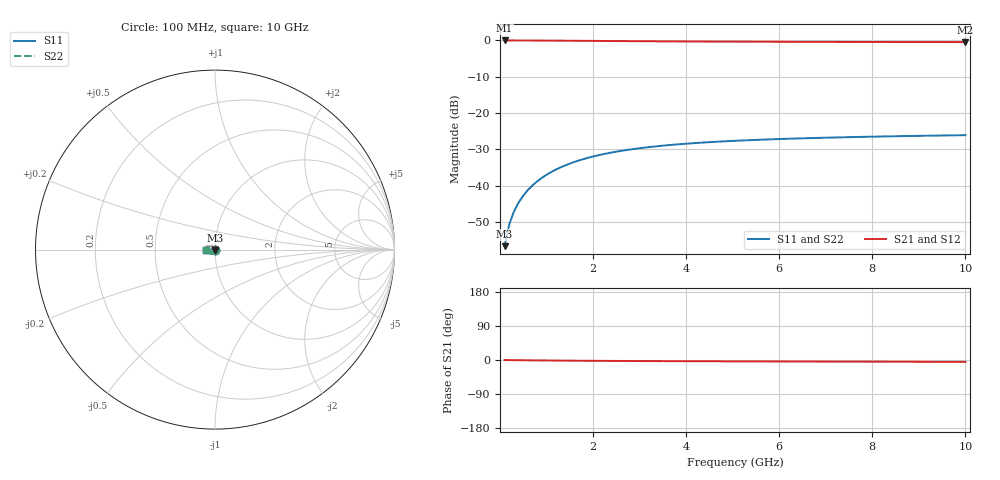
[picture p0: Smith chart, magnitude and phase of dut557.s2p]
! Touchstone file exported from HFSS 2024.1.0
!  File:  C:/UserFiles/LocalFiles/RDL_TSV_Batchsim/temp_TSV1_557_1779706963.aedt
!  Generated:  07:10:11 PM May 25, 2026
!  Design:  TSV1
!  Project:  temp_TSV1_557_1779706963
!  Setup:  Setup1
!  Solution:  Sweep
! Variables:
!  dtsv = 12.82um
!  hbump = 3um
!  htsv = 76.56um
!  lrdl = 252.1521522um
!  p = 40
!  p1 = 55.86um
!  t = 500um
!  trdl = 3um
!  wrdl = 24.89489489um
# GHz S MA R 50.000000
! Terminal data exported
! Port[1] = TSV22_T1
! Port[2] = TSV22_T2
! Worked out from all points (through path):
!   100 points, 100 MHz to 10 GHz, reference 50 ohm
!   highest |S21| = 0.00 dB at 100 MHz (marker M1); lowest = -0.5 dB at 10 GHz (marker M2)
!   lowest |S11| = -56.7 dB at 100 MHz (marker M3), VSWR 1.00, Z = 50 - j0.146 ohm
!   |S11| at or under -10 dB: start of sweep to end of sweep
!   |S22| runs from -56.7 to -26.1 dB; largest |S21 - S12| = 1.3e-14
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0.1  0.001463 -88.5  0.9999 -0.1  0.9999 -0.1  0.001463 -88.5
! Gamma 0 0 0 0
! Port Impedance 50 0 50 0
0.2  0.002923 -91.9  0.9997 -0.3  0.9997 -0.3  0.002923 -91.9
0.3  0.00438 -94.3  0.9994 -0.4  0.9994 -0.4  0.00438 -94.3
0.4  0.005829 -96.5  0.9991 -0.5  0.9991 -0.5  0.005829 -96.5
0.5  0.007265 -98.5  0.9986 -0.7  0.9986 -0.7  0.007265 -98.5
0.6  0.008682 -100.5  0.9981 -0.8  0.9981 -0.8  0.008682 -100.5
0.7  0.01008 -102.4  0.9975 -0.9  0.9975 -0.9  0.01008 -102.4
0.8  0.01144 -104.3  0.9969 -1.0  0.9969 -1.0  0.01144 -104.3
0.9  0.01278 -106.2  0.9961 -1.1  0.9961 -1.1  0.01278 -106.2
1.1  0.01536 -109.8  0.9945 -1.4  0.9945 -1.4  0.01536 -109.8
1.4  0.01897 -114.9  0.9918 -1.7  0.9918 -1.7  0.01897 -114.9
1.6  0.02118 -118.2  0.9898 -1.9  0.9898 -1.9  0.02118 -118.2
1.8  0.02325 -121.2  0.9878 -2.0  0.9878 -2.0  0.02325 -121.2
2.1  0.02606 -125.5  0.9848 -2.3  0.9848 -2.3  0.02606 -125.5
2.5  0.02933 -130.8  0.9808 -2.5  0.9808 -2.5  0.02933 -130.8
2.9  0.0321 -135.5  0.9771 -2.7  0.9771 -2.7  0.0321 -135.5
3.4  0.03499 -140.7  0.9729 -3.0  0.9729 -3.0  0.03499 -140.7
4.2  0.03858 -147.9  0.9673 -3.3  0.9673 -3.3  0.03858 -147.9
5.1  0.04156 -154.5  0.9624 -3.6  0.9624 -3.6  0.04156 -154.5
6.7  0.04518 -163.9  0.9562 -4.0  0.9562 -4.0  0.04518 -163.9
8.4  0.04775 -171.7  0.9519 -4.5  0.9519 -4.5  0.04775 -171.7
10  0.04955 -177.8  0.9492 -5.0  0.9492 -5.0  0.04955 -177.8
